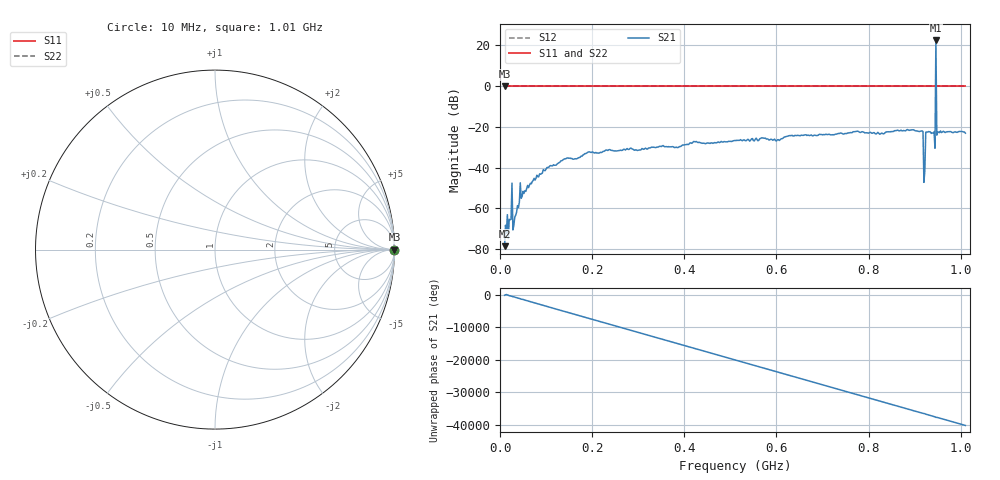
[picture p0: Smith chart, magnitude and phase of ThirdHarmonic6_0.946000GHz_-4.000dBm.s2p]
! 8/16/2025 6:44:30 AM
! C:\ANRITSUVNA\TEMP\TEMP.S2P
! CHANNEL.1
! TR.MEASUREMENT
! RAW.DATA
! RF.CORRECTION.OFF
! AVERAGING.OFF
! IF.BANDWIDTH: 5KHZ
! SWEEPTYPE:  FREQ.SWEEP(Linear)
! Reference Plane Port Info
! PORT:  PORT1  PORT2
! DISTANCE:  0  m  0  m
! TIME:  0  s  0  s
! PHASE.OFFSET:  0  deg.  0  deg.
! LOSS:  0  dB  0  dB
! REF.LOSS:  0  dB  0  dB
! REF.FREQ:  0  Hz  0  Hz
! Power Info
! POWER:  -20  dBm  -20  dBm
! EFF.POWER:  -20  dBm  -20  dBm
! SOURCE.ATTEN:  0  dB  0  dB
! TEST.ATTEN:  0  dB  0  dB
# GHZ S RI R 50.0
! FREQ.GHZ  S11RE  S11IM  S21RE  S21IM  S12RE  S12IM  S22RE  S22IM
!; PortSelection: Port_12
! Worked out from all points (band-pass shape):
!   501 points, 10 MHz to 1.01 GHz, reference 50 ohm
!   highest |S21| = 22.40 dB at 946 MHz (marker M1); lowest = -78.5 dB at 10 MHz (marker M2)
!   |S21| within 3 dB of the highest: 945.8865 MHz to 946.1292 MHz (242.6 kHz wide, 0.0256 % of centre)
!   lowest |S11| = 0.0 dB at 10 MHz (marker M3)
!   |S11| at or under -10 dB: nowhere
!   |S22| runs from 0.0 to 0.0 dB; largest |S21 - S12| = 14
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0.01  1 0  -6.99e-05 -9.55e-05  1 0  1 0
0.022  1 0  0.000214 0.000482  1 0  1 0
0.03  1 0  -0.000206 0.00032  1 0  1 0
0.032  1 0  0.000597 9.95e-05  1 0  1 0
0.046  1 0  -0.000704 0.00163  1 0  1 0
0.076  1 0  0.00495 0.000296  1 0  1 0
0.142  1 0  -0.015 -0.0069  1 0  1 0
0.178  1 0  -0.0183 -0.00529  1 0  1 0
0.344  1 0  0.0318 -0.00482  1 0  1 0
0.51  1 0  -0.0446 0.0123  1 0  1 0
0.678  1 0  -0.0209 -0.0563  1 0  1 0
0.844  1 0  0.0498 0.057  1 0  1 0
0.914  1 0  -0.0168 0.0775  1 0  1 0
0.918  1 0  0.0372 -0.0669  1 0  1 0
0.924  1 0  0.0378 0.0639  1 0  1 0
0.928  1 0  -0.0124 -0.0737  1 0  1 0
0.94  1 0  -0.0532 0.0471  1 0  1 0
0.942  1 0  0.039 0.0642  1 0  1 0
0.946  1 0  -12.06 5.325  1 0  1 0
0.95  1 0  -0.0063 0.0748  1 0  1 0
0.952  1 0  0.0726 0.0173  1 0  1 0
1.01  1 0  -0.0672 -0.0201  1 0  1 0
